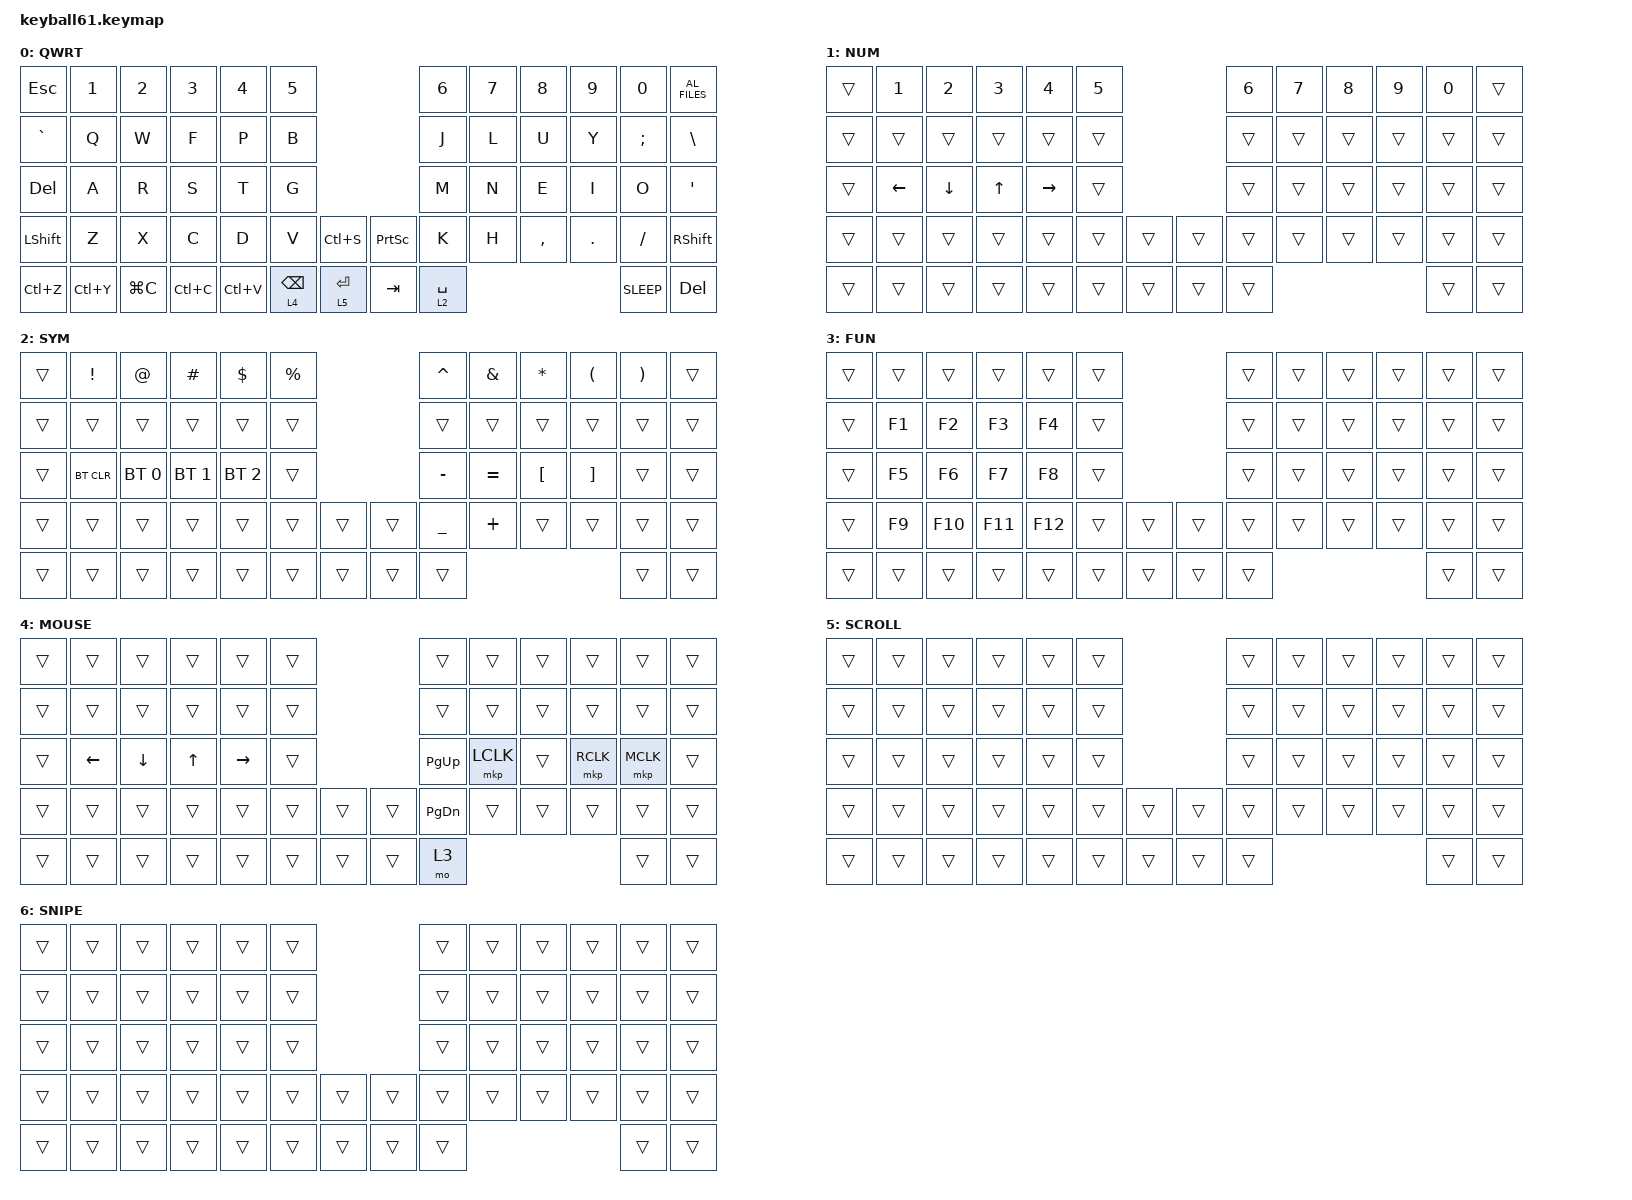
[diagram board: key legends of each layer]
#define DEFAULT 0
#define SYM     1
#define FUN     2
#define MOUSE   3
#define SCROLL  4
#define SNIPE   5

#include <behaviors/mouse_keys.dtsi>
#include <dt-bindings/zmk/mouse.h>
#include <behaviors.dtsi>
#include <dt-bindings/zmk/bt.h>
#include <dt-bindings/zmk/keys.h>
#include <dt-bindings/zmk/pointing.h>

&lt {
    tapping-term-ms = <240>;
    flavor = "balanced";
    quick-tap-ms = <150>;
};

&mt {
    tapping-term-ms = <200>;
    flavor = "tap-preferred";
    quick-tap-ms = <150>;
};

/ {
    keymap {
        compatible = "zmk,keymap";

        default_layer {
            label = "QWRT";
            bindings = <
&kp ESC         &kp N1     &kp N2     &kp N3     &kp N4     &kp N5                                         &kp N6       &kp N7  &kp N8     &kp N9   &kp N0         &kp C_AL_FILES
&kp GRAVE       &kp Q      &kp W      &kp F      &kp P      &kp B                                          &kp J        &kp L   &kp U      &kp Y    &kp SEMICOLON  &kp BACKSLASH
&kp DEL         &kp A      &kp R      &kp S      &kp T      &kp G                                          &kp M        &kp N   &kp E      &kp I    &kp O          &kp SQT
&kp LEFT_SHIFT  &kp Z      &kp X      &kp C      &kp D      &kp V            &kp LC(S)    &kp PRINTSCREEN  &kp K        &kp H   &kp COMMA  &kp DOT  &kp FSLH       &kp RIGHT_SHIFT
&kp LC(Z)       &kp LC(Y)  &kp LG(C)  &kp LC(C)  &kp LC(V)  &lt 4 BACKSPACE  &lt 5 ENTER  &kp TAB          &lt 2 SPACE                              &kp C_SLEEP    &kp DELETE
            >;
        };

        number_layer {
            bindings = <
&trans  &kp N1    &kp N2    &kp N3  &kp N4     &kp N5                  &kp N6  &kp N7  &kp N8  &kp N9  &kp N0  &trans
&trans  &trans    &trans    &trans  &trans     &trans                  &trans  &trans  &trans  &trans  &trans  &trans
&trans  &kp LEFT  &kp DOWN  &kp UP  &kp RIGHT  &trans                  &trans  &trans  &trans  &trans  &trans  &trans
&trans  &trans    &trans    &trans  &trans     &trans  &trans  &trans  &trans  &trans  &trans  &trans  &trans  &trans
&trans  &trans    &trans    &trans  &trans     &trans  &trans  &trans  &trans                          &trans  &trans
            >;

            label = "NUM";
        };

        symbol_layer {
            label = "SYM";
            bindings = <
&trans  &kp EXCLAMATION  &kp AT_SIGN   &kp HASH      &kp DOLLAR    &kp PERCENT                  &kp CARET       &kp AMPERSAND  &kp ASTERISK      &kp LEFT_PARENTHESIS  &kp RIGHT_PARENTHESIS  &trans
&trans  &trans           &trans        &trans        &trans        &trans                       &trans          &trans         &trans            &trans                &trans                 &trans
&trans  &bt BT_CLR       &bt BT_SEL 0  &bt BT_SEL 1  &bt BT_SEL 2  &trans                       &kp MINUS       &kp EQUAL      &kp LEFT_BRACKET  &kp RIGHT_BRACKET     &trans                 &trans
&trans  &trans           &trans        &trans        &trans        &trans       &trans  &trans  &kp UNDERSCORE  &kp PLUS       &trans            &trans                &trans                 &trans
&trans  &trans           &trans        &trans        &trans        &trans       &trans  &trans  &trans                                                                 &trans                 &trans
            >;
        };

        function_layer {
            label = "FUN";
            bindings = <
&trans  &trans  &trans   &trans   &trans   &trans                  &trans  &trans  &trans  &trans  &trans  &trans
&trans  &kp F1  &kp F2   &kp F3   &kp F4   &trans                  &trans  &trans  &trans  &trans  &trans  &trans
&trans  &kp F5  &kp F6   &kp F7   &kp F8   &trans                  &trans  &trans  &trans  &trans  &trans  &trans
&trans  &kp F9  &kp F10  &kp F11  &kp F12  &trans  &trans  &trans  &trans  &trans  &trans  &trans  &trans  &trans
&trans  &trans  &trans   &trans   &trans   &trans  &trans  &trans  &trans                          &trans  &trans
            >;
        };

        mouse_layer {
            label = "MOUSE";
            bindings = <
&trans  &trans    &trans    &trans  &trans     &trans                  &trans         &trans     &trans  &trans     &trans     &trans
&trans  &trans    &trans    &trans  &trans     &trans                  &trans         &trans     &trans  &trans     &trans     &trans
&trans  &kp LEFT  &kp DOWN  &kp UP  &kp RIGHT  &trans                  &kp PAGE_UP    &mkp LCLK  &trans  &mkp RCLK  &mkp MCLK  &trans
&trans  &trans    &trans    &trans  &trans     &trans  &trans  &trans  &kp PAGE_DOWN  &trans     &trans  &trans     &trans     &trans
&trans  &trans    &trans    &trans  &trans     &trans  &trans  &trans  &mo 3                                        &trans     &trans
            >;
        };

        scroll_layer {
            label = "SCROLL";
            bindings = <
&trans  &trans  &trans  &trans  &trans  &trans                  &trans  &trans  &trans  &trans  &trans  &trans
&trans  &trans  &trans  &trans  &trans  &trans                  &trans  &trans  &trans  &trans  &trans  &trans
&trans  &trans  &trans  &trans  &trans  &trans                  &trans  &trans  &trans  &trans  &trans  &trans
&trans  &trans  &trans  &trans  &trans  &trans  &trans  &trans  &trans  &trans  &trans  &trans  &trans  &trans
&trans  &trans  &trans  &trans  &trans  &trans  &trans  &trans  &trans                          &trans  &trans
            >;
        };

        snipe_layer {
            label = "SNIPE";
            bindings = <
&trans  &trans  &trans  &trans  &trans  &trans                  &trans  &trans  &trans  &trans  &trans  &trans
&trans  &trans  &trans  &trans  &trans  &trans                  &trans  &trans  &trans  &trans  &trans  &trans
&trans  &trans  &trans  &trans  &trans  &trans                  &trans  &trans  &trans  &trans  &trans  &trans
&trans  &trans  &trans  &trans  &trans  &trans  &trans  &trans  &trans  &trans  &trans  &trans  &trans  &trans
&trans  &trans  &trans  &trans  &trans  &trans  &trans  &trans  &trans                          &trans  &trans
            >;
        };
    };
};
